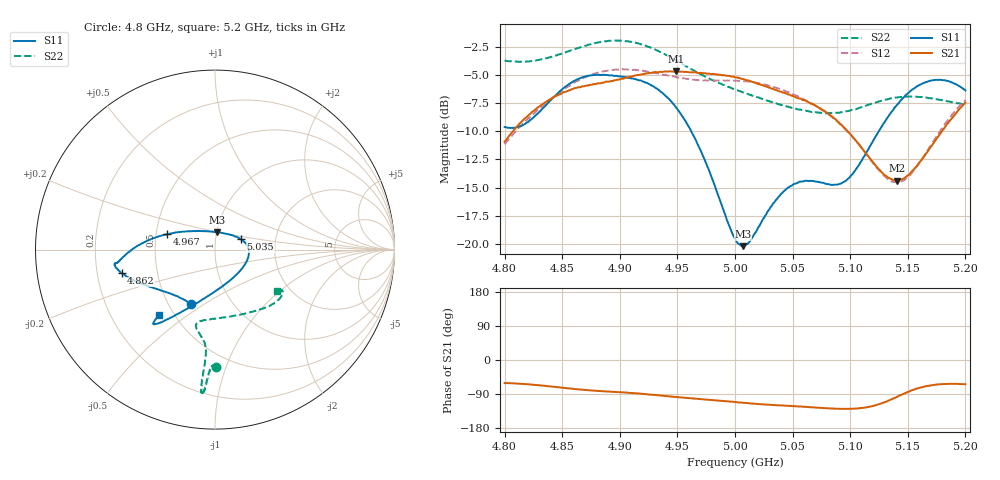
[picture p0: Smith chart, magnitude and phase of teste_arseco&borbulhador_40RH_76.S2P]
! Network Analyzer HP8722D
! Hewlett-Packard
! Data name: Linha & Wilkinson
! Saver's name: Rodrigo Anjos
! Comments: Teste da utilização de aquisição
! continua pelo VNA HP8722D
! Time and date: 15/4/2025 16:59
!  Frequency  S11  S21  S12  S22
# HZ  S  MA R 50
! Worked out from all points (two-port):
!   401 points, 4.8 GHz to 5.2 GHz, reference 50 ohm
!   highest |S21| = -4.63 dB at 4.949 GHz (marker M1); lowest = -14.4 dB at 5.141 GHz (marker M2)
!   |S21| within 3 dB of the highest: 4.832 GHz to 5.069 GHz (237.2 MHz wide, 4.79 % of centre); 5.198197 GHz to end of sweep
!   lowest |S11| = -20.2 dB at 5.007 GHz (marker M3), VSWR 1.22, Z = 50.4 + j9.82 ohm
!   |S11| at or under -10 dB: 4.962 GHz to 5.125 GHz (162.8 MHz wide, 3.23 % of centre)
!   |S22| runs from -8.4 to -1.9 dB; largest |S21 - S12| = 0.88
!   S11 on the Smith chart (normalised r, x): 4.8 GHz: 0.65, -0.44; 4.862 GHz: 0.31, -0.11; 4.967 GHz: 0.57, +0.10; 5.035 GHz: 1.33, +0.16; 5.2 GHz: 0.41, -0.39
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4.8e9  0.3308 -113.9  0.2844 -60.9  0.2771 -175.1  0.6544 -89.5
4.819e9  0.3457 -133.8  0.3661 -63.9  0.354 -173.3  0.6489 -91.1
4.862e9  0.5365 -165.8  0.4939 -76.9  0.5278 -176.7  0.7393 -93.6
4.867e9  0.5496 -167.8  0.5016 -78.4  0.5426 -177.5  0.7524 -93.7
4.9e9  0.5568 -172.3  0.5395 -85.0  0.5976 175.7  0.8021 -95.2
4.934e9  0.483 -178.2  0.5815 -93.4  0.5725 172.0  0.7191 -95.6
4.949e9  0.4031 174.8  0.5865 -97.4  0.5522 172.2  0.6551 -95.2
4.967e9  0.2813 162.5  0.5774 -102.3  0.5352 173.9  0.5792 -95.0
5e9  0.1054 106.1  0.551 -111.1  0.5317 176.4  0.488 -99.3
5.007e9  0.09738 81.9  0.5414 -112.5  0.5287 176.4  0.4712 -101.0
5.013e9  0.1025 63.0  0.5307 -114.6  0.5259 176.1  0.4605 -102.2
5.035e9  0.1551 22.1  0.4843 -119.1  0.496 175.1  0.422 -103.9
5.05e9  0.1824 6.4  0.4552 -121.8  0.4638 174.3  0.4031 -100.3
5.067e9  0.1901 -12.0  0.4204 -124.9  0.4201 174.0  0.3859 -91.9
5.086e9  0.183 -42.6  0.362 -128.5  0.3595 173.7  0.3822 -77.5
5.097e9  0.1919 -65.6  0.3196 -129.1  0.3186 174.4  0.3887 -68.4
5.134e9  0.3746 -116.4  0.1955 -106.3  0.1915 -159.2  0.4423 -43.4
5.141e9  0.4175 -120.3  0.1907 -96.5  0.1875 -148.3  0.4485 -40.2
5.153e9  0.4819 -125.2  0.2079 -80.5  0.205 -129.7  0.452 -36.0
5.17e9  0.5323 -128.8  0.2697 -66.9  0.2745 -112.9  0.4447 -32.1
5.184e9  0.5313 -130.1  0.3414 -63.1  0.3505 -107.3  0.4316 -31.1
5.2e9  0.4816 -130.5  0.4248 -64.2  0.4361 -106.1  0.4154 -33.5
